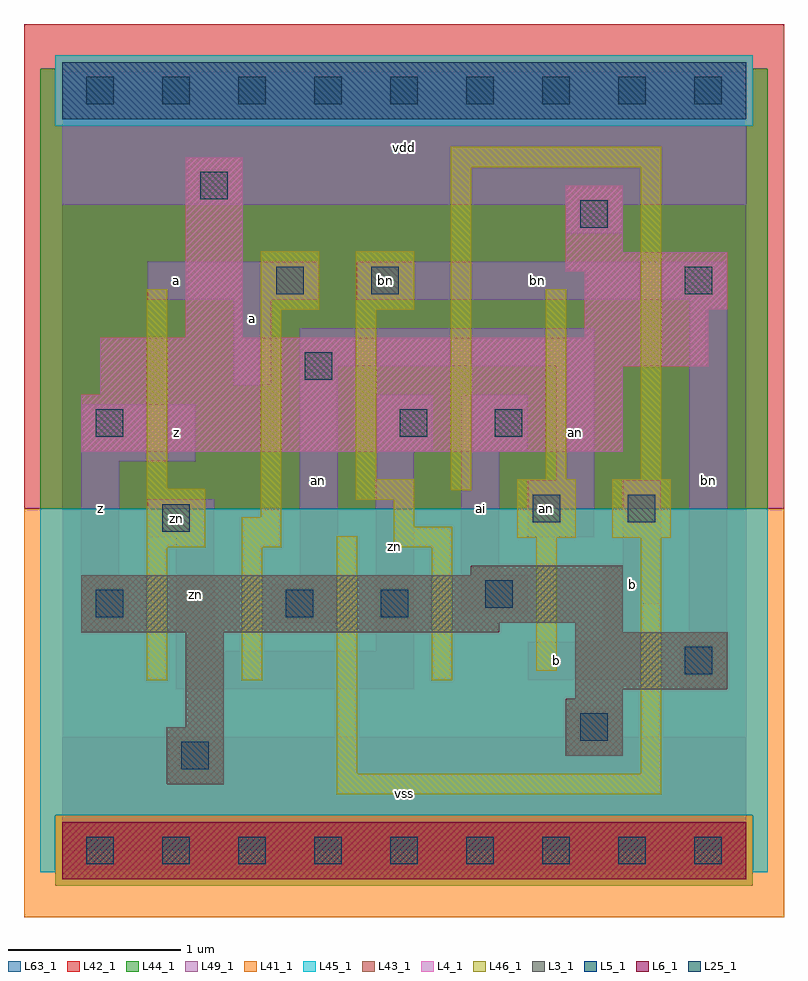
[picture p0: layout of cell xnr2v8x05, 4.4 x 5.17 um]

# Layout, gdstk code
import gdstk
lib = gdstk.Library(unit=1e-6, precision=1e-09)
def R(c, l, rs):  # rectangles x0, y0, x1, y1
    for r in rs: c.add(gdstk.rectangle(r[:2], r[2:], *l))
def A(c, l, x, y, w, h, nx, ny, dx, dy):  # array of equal rectangles
    R(c, l, [(x+i*dx, y+j*dy, x+i*dx+w, y+j*dy+h) for i in range(nx) for j in range(ny)])
L3_1 = (3, 1)
L4_1 = (4, 1)
L5_1 = (5, 1)
L6_1 = (6, 1)
L25_1 = (25, 1)
L41_1 = (41, 1)
L42_1 = (42, 1)
L43_1 = (43, 1)
L44_1 = (44, 1)
L45_1 = (45, 1)
L46_1 = (46, 1)
L49_1 = (49, 1)
L63_1 = (63, 1)

xnr2v8x05 = lib.new_cell('xnr2v8x05')
R(xnr2v8x05, L3_1, [(0.605,0.385,0.935,0.715), (2.915,0.55,3.245,0.88), (0.715,0.715,0.935,1.265), (2.97,0.88,3.245,0.935), (2.97,0.935,3.85,1.265), (0.11,1.265,2.53,1.32), (2.97,1.265,3.245,1.32), (0.11,1.32,3.245,1.595), (2.365,1.595,3.245,1.65)])
R(xnr2v8x05, L4_1, [(0.11,2.31,3.245,2.64), (0.22,2.64,3.245,2.805), (0.22,2.805,3.74,2.97), (0.715,2.97,1.045,4.015), (3.025,2.97,3.74,3.135), (3.025,3.135,3.85,3.355), (2.915,3.355,3.85,3.465), (2.915,3.465,3.245,3.85)])
R(xnr2v8x05, L5_1, [(0,4.235,3.96,4.565)])
R(xnr2v8x05, L6_1, [(0,-0.165,3.96,0.165)])
A(xnr2v8x05, L25_1, 0.14, -0.08, 0.16, 0.16, 9, 2, 0.44, 4.4)
R(xnr2v8x05, L25_1, [(0.69,0.47,0.85,0.63), (3,0.635,3.16,0.795), (3.605,1.02,3.765,1.18), (0.195,1.35,0.355,1.51), (1.295,1.35,1.455,1.51), (1.845,1.35,2.005,1.51), (2.45,1.405,2.61,1.565), (0.58,1.845,0.74,2.005), (2.725,1.9,2.885,2.06), (3.275,1.9,3.435,2.06), (0.195,2.395,0.355,2.555), (1.955,2.395,2.115,2.555), (2.505,2.395,2.665,2.555), (1.405,2.725,1.565,2.885), (1.24,3.22,1.4,3.38), (1.79,3.22,1.95,3.38), (3.605,3.22,3.765,3.38), (3,3.605,3.16,3.765), (0.8,3.77,0.96,3.93)])
R(xnr2v8x05, L41_1, [(-0.22,-0.385,4.18,1.98)])
R(xnr2v8x05, L42_1, [(-0.22,1.98,4.18,4.785)])
R(xnr2v8x05, L43_1, [(0,-0.165,3.96,0.165), (0.605,0.385,0.935,0.715), (2.915,0.55,3.245,0.88), (0.715,0.715,0.935,1.265), (2.97,0.88,3.245,0.935), (2.97,0.935,3.85,1.265), (0.11,1.265,2.53,1.32), (2.97,1.265,3.245,1.32), (0.11,1.32,3.245,1.595), (2.365,1.595,3.245,1.65), (0.11,2.31,3.245,2.64), (0.22,2.64,3.245,2.805), (0.22,2.805,3.74,2.97), (0.715,2.97,1.045,4.015), (3.025,2.97,3.74,3.135), (3.025,3.135,3.85,3.355), (2.915,3.355,3.85,3.465), (2.915,3.465,3.245,3.85), (0,4.235,3.96,4.565)])
R(xnr2v8x05, L44_1, [(-0.04,-0.205,4,0.205), (-0.125,1.98,4.085,4.195), (-0.125,4.195,-0.04,4.525), (4,4.195,4.085,4.525)])
R(xnr2v8x05, L45_1, [(-0.125,-0.125,-0.04,0.205), (4,-0.125,4.085,0.205), (-0.125,0.205,4.085,1.98), (-0.04,4.195,4,4.605)])
R(xnr2v8x05, L46_1, [(1.59,0.325,3.47,0.445), (1.59,0.445,1.71,1.82), (3.35,0.445,3.47,1.81), (0.49,0.985,0.61,1.755), (1.04,0.985,1.16,1.755), (2.14,0.985,2.26,1.755), (2.745,1.04,2.865,1.81), (0.49,1.755,0.83,2.095), (1.04,1.755,1.27,1.93), (1.92,1.755,2.26,1.875), (2.635,1.81,2.975,2.15), (3.185,1.81,3.525,2.15), (1.92,1.875,2.04,2.03), (1.15,1.93,1.27,3.13), (1.7,2.03,2.04,2.15), (2.25,2.085,2.37,3.955), (0.49,2.095,0.61,3.25), (1.7,2.15,1.82,3.13), (2.8,2.15,2.92,3.25), (3.35,2.15,3.47,3.955), (1.15,3.13,1.49,3.47), (1.7,3.13,2.04,3.47), (2.25,3.955,3.47,4.075)])
R(xnr2v8x05, L49_1, [(0,-0.11,3.96,0.66), (2.915,0.66,3.245,0.825), (0.66,0.935,2.035,1.155), (3.575,0.935,3.85,1.265), (2.695,0.99,3.355,1.21), (0.66,1.155,0.88,1.815), (1.815,1.155,2.035,2.31), (3.135,1.21,3.355,1.43), (0.11,1.265,0.385,1.595), (3.63,1.265,3.85,3.19), (1.21,1.32,1.595,1.54), (2.31,1.375,2.695,1.595), (3.135,1.43,3.465,1.65), (1.375,1.54,1.595,2.805), (0.11,1.595,0.33,2.255), (2.31,1.595,2.53,2.31), (3.245,1.65,3.465,2.145), (0.495,1.815,0.88,2.035), (2.695,1.815,3.08,2.145), (2.86,2.145,3.08,2.805), (0.11,2.255,0.77,2.585), (1.815,2.31,2.145,2.64), (2.31,2.31,2.695,2.64), (0.99,2.695,1.21,3.19), (1.375,2.805,3.08,3.025), (0.495,3.19,1.485,3.41), (1.705,3.19,3.85,3.41), (2.915,3.575,3.245,3.74), (0,3.74,3.96,4.51)])
R(xnr2v8x05, L63_1, [(0,0,3.96,4.4)])
xnr2v8x05.add(gdstk.Label('zn', (0.66,1.925), layer=49, texttype=1))
xnr2v8x05.add(gdstk.Label('bn', (1.87,3.3), layer=49, texttype=1))
xnr2v8x05.add(gdstk.Label('an', (2.805,1.98), layer=49, texttype=1))
xnr2v8x05.add(gdstk.Label('z', (0.22,1.98), layer=49, texttype=1))
xnr2v8x05.add(gdstk.Label('zn', (0.77,1.485), layer=49, texttype=1))
xnr2v8x05.add(gdstk.Label('z', (0.66,2.42), layer=49, texttype=1))
xnr2v8x05.add(gdstk.Label('a', (0.66,3.3), layer=49, texttype=1))
xnr2v8x05.add(gdstk.Label('a', (1.1,3.08), layer=49, texttype=1))
xnr2v8x05.add(gdstk.Label('vss', (1.98,0.33), layer=49, texttype=1))
xnr2v8x05.add(gdstk.Label('an', (1.485,2.145), layer=49, texttype=1))
xnr2v8x05.add(gdstk.Label('zn', (1.925,1.76), layer=49, texttype=1))
xnr2v8x05.add(gdstk.Label('vdd', (1.98,4.07), layer=49, texttype=1))
xnr2v8x05.add(gdstk.Label('b', (2.86,1.1), layer=49, texttype=1))
xnr2v8x05.add(gdstk.Label('ai', (2.42,1.98), layer=49, texttype=1))
xnr2v8x05.add(gdstk.Label('an', (2.97,2.42), layer=49, texttype=1))
xnr2v8x05.add(gdstk.Label('b', (3.3,1.54), layer=49, texttype=1))
xnr2v8x05.add(gdstk.Label('bn', (3.74,2.145), layer=49, texttype=1))
xnr2v8x05.add(gdstk.Label('bn', (2.75,3.3), layer=49, texttype=1))

lib.write_gds('xnr2v8x05.gds')
